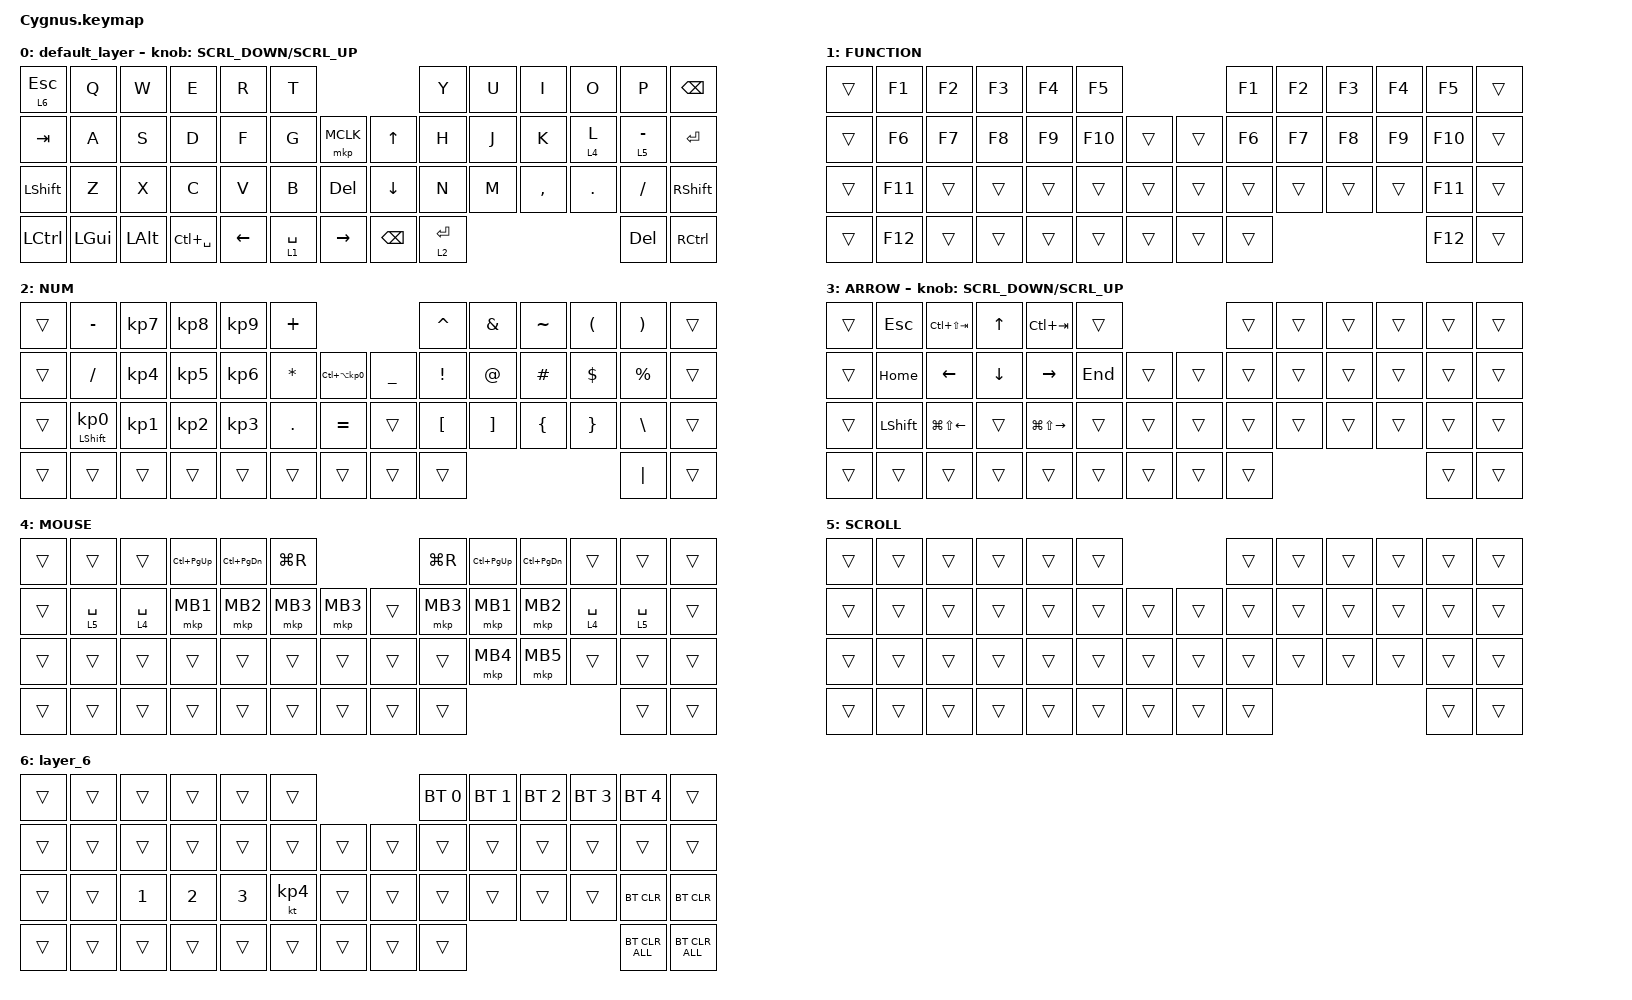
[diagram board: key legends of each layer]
#define ZMK_POINTING_DEFAULT_SCRL_VAL 120    // default: 10

#include <behaviors.dtsi>
#include <dt-bindings/zmk/bt.h>
#include <dt-bindings/zmk/keys.h>
#include <dt-bindings/zmk/pointing.h>
// Cygnus.keymap is shared by both halves' builds, but only Cygnus_R.overlay
// (trackball side) otherwise pulls in zip_temp_layer; include it here too so
// mkp_input_listener below resolves on the Cygnus_L build as well.
#include <input/processors.dtsi>

#define MOUSE 4
#define SCROLL 5
#define NUM 6

&mt {
    flavor = "balanced";
    quick-tap-ms = <0>;
};

// Reset the auto-mouse-layer timeout whenever a mouse button is clicked,
// so the layer doesn't expire mid-click/drag while the base timeout set
// on trackball_listener (Cygnus_R.overlay) is left intentionally long.
// (Must live here, not in the .overlay: mkp_input_listener is only
// defined once behaviors.dtsi is included, which happens in this file.)
&mkp_input_listener {
    input-processors = <&zip_temp_layer MOUSE 10000>;
};

/ {
    combos {
        compatible = "zmk,combos";

        double_quotation {
            bindings = <&kp DOUBLE_QUOTES>;
            key-positions = <20 21>;
        };
    };

    macros {
        to_layer_0: to_layer_0 {
            compatible = "zmk,behavior-macro-one-param";
            #binding-cells = <1>;
            bindings = <&to 0 &macro_param_1to1 &kp MACRO_PLACEHOLDER>;
            label = "TO_LAYER_0";
        };
    };

    behaviors {
        lt_to_layer_0: lt_to_layer_0 {
            compatible = "zmk,behavior-hold-tap";
            label = "LAYER_TAP_TO_0";
            bindings = <&mo>, <&to_layer_0>;

            #binding-cells = <2>;
            tapping-term-ms = <200>;
        };

        ROTATE: ROTATE {
            compatible = "zmk,behavior-sensor-rotate-var";
            label = "ROTATE";
            #sensor-binding-cells = <2>;
            bindings = <&msc>, <&msc>;

            tap-ms = <20>;
        };
    };

    keymap {
        compatible = "zmk,keymap";

        default_layer {
            bindings = <
&lt 6 ESC  &kp Q     &kp W     &kp E          &kp R           &kp T                                           &kp Y        &kp U  &kp I      &kp O    &kp P        &kp BSPC
&kp TAB    &kp A     &kp S     &kp D          &kp F           &kp G        &mkp MCLK          &kp UP_ARROW    &kp H        &kp J  &kp K      &lt 4 L  &lt 5 MINUS  &kp ENTER
&kp LSHFT  &kp Z     &kp X     &kp C          &kp V           &kp B        &kp DELETE         &kp DOWN_ARROW  &kp N        &kp M  &kp COMMA  &kp DOT  &kp FSLH     &kp RSHFT
&kp LCTRL  &kp LGUI  &kp LALT  &kp LC(SPACE)  &kp LEFT_ARROW  &lt 1 SPACE  &kp RIGHT_ARROW    &kp BACKSPACE   &lt 2 ENTER                             &kp DEL      &kp RCTRL
            >;

            sensor-bindings = <&ROTATE SCRL_DOWN SCRL_UP>;
        };

        FUNCTION {
            bindings = <
&trans  &kp F1   &kp F2  &kp F3  &kp F4  &kp F5                     &kp F1  &kp F2  &kp F3  &kp F4  &kp F5   &trans
&trans  &kp F6   &kp F7  &kp F8  &kp F9  &kp F10  &trans    &trans  &kp F6  &kp F7  &kp F8  &kp F9  &kp F10  &trans
&trans  &kp F11  &trans  &trans  &trans  &trans   &trans    &trans  &trans  &trans  &trans  &trans  &kp F11  &trans
&trans  &kp F12  &trans  &trans  &trans  &trans   &trans    &trans  &trans                          &kp F12  &trans
            >;
        };

        NUM {
            bindings = <
&trans  &kp MINUS                   &kp KP_NUMBER_7  &kp KP_NUMBER_8  &kp KP_NUMBER_9  &kp PLUS                                                 &kp CARET         &kp AMPERSAND      &kp TILDE       &kp LEFT_PARENTHESIS  &kp RIGHT_PARENTHESIS  &trans
&trans  &kp SLASH                   &kp KP_NUMBER_4  &kp KP_NUMBER_5  &kp KP_NUMBER_6  &kp ASTERISK  &kp LC(LA(KP_NUMBER_0))    &kp UNDERSCORE  &kp EXCLAMATION   &kp AT_SIGN        &kp HASH        &kp DOLLAR            &kp PERCENT            &trans
&trans  &mt LEFT_SHIFT KP_NUMBER_0  &kp KP_NUMBER_1  &kp KP_NUMBER_2  &kp KP_NUMBER_3  &kp PERIOD    &kp EQUAL                  &trans          &kp LEFT_BRACKET  &kp RIGHT_BRACKET  &kp LEFT_BRACE  &kp RIGHT_BRACE       &kp BACKSLASH          &trans
&trans  &trans                      &trans           &trans           &trans           &trans        &trans                     &trans          &trans                                                                     &kp PIPE               &trans
            >;
        };

        ARROW {
            bindings = <
&trans  &kp ESCAPE      &kp LC(LS(TAB))         &kp UP_ARROW    &kp LC(TAB)              &trans                     &trans  &trans  &trans  &trans  &trans  &trans
&trans  &kp HOME        &kp LEFT_ARROW          &kp DOWN_ARROW  &kp RIGHT_ARROW          &kp END  &trans    &trans  &trans  &trans  &trans  &trans  &trans  &trans
&trans  &kp LEFT_SHIFT  &kp LG(LS(LEFT_ARROW))  &trans          &kp LG(LS(RIGHT_ARROW))  &trans   &trans    &trans  &trans  &trans  &trans  &trans  &trans  &trans
&trans  &trans          &trans                  &trans          &trans                   &trans   &trans    &trans  &trans                          &trans  &trans
            >;

            sensor-bindings = <&ROTATE SCRL_DOWN SCRL_UP>;
        };

        MOUSE {
            bindings = <
&trans  &trans       &trans       &kp LC(PAGE_UP)  &kp LC(PAGE_DOWN)  &kp LG(R)                      &kp LG(R)  &kp LC(PAGE_UP)  &kp LC(PAGE_DOWN)  &trans       &trans       &trans
&trans  &lt 5 SPACE  &lt 4 SPACE  &mkp MB1         &mkp MB2           &mkp MB3   &mkp MB3    &trans  &mkp MB3   &mkp MB1         &mkp MB2           &lt 4 SPACE  &lt 5 SPACE  &trans
&trans  &trans       &trans       &trans           &trans             &trans     &trans      &trans  &trans     &mkp MB4         &mkp MB5           &trans       &trans       &trans
&trans  &trans       &trans       &trans           &trans             &trans     &trans      &trans  &trans                                                      &trans       &trans
            >;
        };

        SCROLL {
            bindings = <
&trans  &trans  &trans  &trans  &trans  &trans                    &trans  &trans  &trans  &trans  &trans  &trans
&trans  &trans  &trans  &trans  &trans  &trans  &trans    &trans  &trans  &trans  &trans  &trans  &trans  &trans
&trans  &trans  &trans  &trans  &trans  &trans  &trans    &trans  &trans  &trans  &trans  &trans  &trans  &trans
&trans  &trans  &trans  &trans  &trans  &trans  &trans    &trans  &trans                          &trans  &trans
            >;
        };

        layer_6 {
            bindings = <
&trans  &trans  &trans        &trans        &trans        &trans                       &bt BT_SEL 0  &bt BT_SEL 1  &bt BT_SEL 2  &bt BT_SEL 3  &bt BT_SEL 4    &trans
&trans  &trans  &trans        &trans        &trans        &trans     &trans    &trans  &trans        &trans        &trans        &trans        &trans          &trans
&trans  &trans  &kp NUMBER_1  &kp NUMBER_2  &kp NUMBER_3  &kt KP_N4  &trans    &trans  &trans        &trans        &trans        &trans        &bt BT_CLR      &bt BT_CLR
&trans  &trans  &trans        &trans        &trans        &trans     &trans    &trans  &trans                                                  &bt BT_CLR_ALL  &bt BT_CLR_ALL
            >;
        };
    };
};
